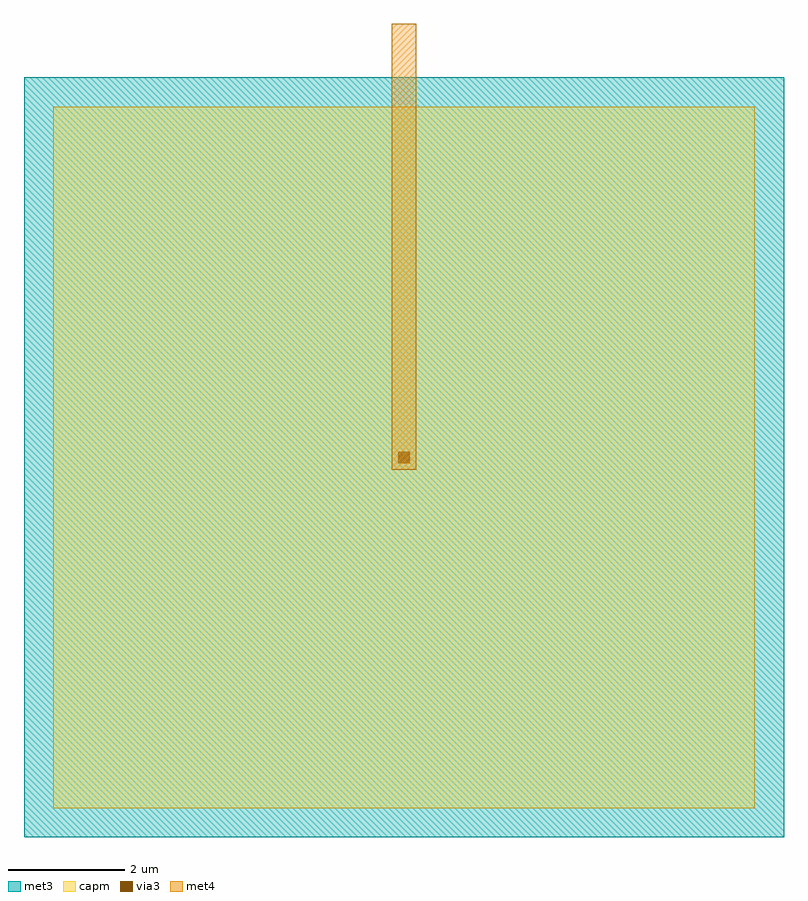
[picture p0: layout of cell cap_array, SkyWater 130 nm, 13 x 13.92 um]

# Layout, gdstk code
import gdstk
lib = gdstk.Library(unit=1e-6, precision=1e-09)
def R(c, l, rs):  # rectangles x0, y0, x1, y1
    for r in rs: c.add(gdstk.rectangle(r[:2], r[2:], *l))
met3 = (70, 20)
via3 = (70, 44)
met4 = (71, 20)
capm = (89, 44)

cap_array = lib.new_cell('cap_array')
R(cap_array, met3, [(0,0,13,13)])
R(cap_array, via3, [(6.4,6.4,6.6,6.6)])
R(cap_array, met4, [(6.29,6.29,6.71,6.71), (6.29,6.71,6.71,13.5), (6.29,13.5,6.71,13.92)])
R(cap_array, capm, [(0.5,0.5,12.5,12.5)])

lib.write_gds('cap_array.gds')
